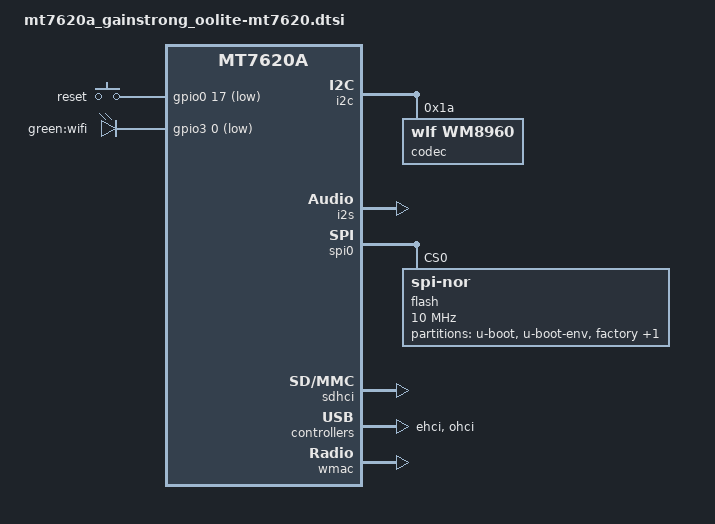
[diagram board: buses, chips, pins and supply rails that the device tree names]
#include "mt7620a.dtsi"

#include <dt-bindings/gpio/gpio.h>
#include <dt-bindings/input/input.h>

/ {
	compatible = "gainstrong,oolite-mt7620", "ralink,mt7620a-soc";

	aliases {
		led-boot = &led_wifi;
		led-failsafe = &led_wifi;
		led-running = &led_wifi;
		led-upgrade = &led_wifi;
	};

	keys {
		compatible = "gpio-keys";

		reset {
			label = "reset";
			gpios = <&gpio0 17 GPIO_ACTIVE_LOW>;
			linux,code = <KEY_RESTART>;
		};
	};

	leds {
		compatible = "gpio-leds";

		led_wifi: wifi {
			label = "green:wifi";
			gpios = <&gpio3 0 GPIO_ACTIVE_LOW>;
		};
	};

	sound {
		compatible = "simple-audio-card";
		simple-audio-card,name = "Audio-I2S";
		simple-audio-card,format = "i2s";
		simple-audio-card,bitclock-master = <&dailink0_master>;
		simple-audio-card,frame-master = <&dailink0_master>;
		simple-audio-card,widgets =
			"Headphone", "Headphones";
		simple-audio-card,routing =
			"Headphones", "HP_L",
			"Headphones", "HP_R";
		simple-audio-card,mclk-fs = <256>;

		simple-audio-card,cpu {
			sound-dai = <&i2s>;
		};

		dailink0_master: simple-audio-card,codec {
			sound-dai = <&codec>;
		};
	};
};

&i2c {
	status = "okay";

	codec: wm8960@1a {
		#sound-dai-cells = <0>;
		compatible = "wlf,wm8960";
		reg = <0x1a>;

		wlf,shared-lrclk;
	};
};

&i2s {
	#sound-dai-cells = <0>;
	status = "okay";
	pinctrl-names = "default";
	pinctrl-0 = <&gpio_i2s_pins>;
};

&spi0 {
	status = "okay";

	flash@0 {
		compatible = "jedec,spi-nor";
		reg = <0>;
		spi-max-frequency = <10000000>;

		partitions {
			compatible = "fixed-partitions";
			#address-cells = <1>;
			#size-cells = <1>;

			partition@0 {
				label = "u-boot";
				reg = <0x0 0x30000>;
				read-only;
			};

			partition@30000 {
				label = "u-boot-env";
				reg = <0x30000 0x10000>;
			};

			factory: partition@40000 {
				label = "factory";
				reg = <0x40000 0x10000>;
				read-only;
			};

			firmware: partition@50000 {
				compatible = "denx,uimage";
				label = "firmware";
			};
		};
	};
};

&gpio1 {
	status = "okay";
};

&gpio3 {
	status = "okay";
};

&sdhci {
	status = "okay";
};

&ehci {
	status = "okay";
};

&ohci {
	status = "okay";
};

&factory {
	compatible = "nvmem-cells";
	#address-cells = <1>;
	#size-cells = <1>;

	macaddr_factory_4: macaddr@4 {
		reg = <0x4 0x6>;
	};
};

&ethernet {
	mediatek,portmap = "llllw";

	nvmem-cells = <&macaddr_factory_4>;
	nvmem-cell-names = "mac-address";
	mac-address-increment = <1>;
};

&wmac {
	ralink,mtd-eeprom = <&factory 0x0>;
};

&state_default {
	gpio {
		groups = "wdt", "wled";
		function = "gpio";
	};
};
